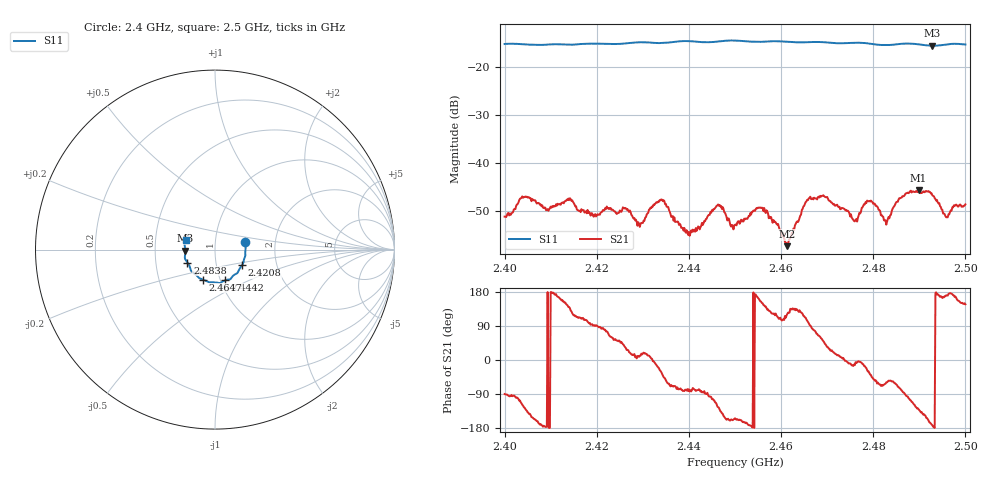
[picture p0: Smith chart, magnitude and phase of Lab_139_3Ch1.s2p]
# Hz S RI R 50
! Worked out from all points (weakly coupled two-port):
!   601 points, 2.4 GHz to 2.5 GHz, reference 50 ohm
!   highest |S21| = -45.74 dB at 2.4898 GHz (marker M1); lowest = -57.3 dB at 2.4613 GHz (marker M2)
!   lowest |S11| = -15.6 dB at 2.4928 GHz (marker M3), VSWR 1.40, Z = 35.8 - j0.377 ohm
!   |S11| at or under -10 dB: start of sweep to end of sweep
!   S12 and S22 are empty: the file has one direction only
!   S11 on the Smith chart (normalised r, x): 2.4 GHz: 1.40, +0.12; 2.4208 GHz: 1.33, -0.24; 2.4442 GHz: 1.05, -0.37; 2.4647 GHz: 0.83, -0.29; 2.4838 GHz: 0.73, -0.11; 2.5 GHz: 0.72, +0.08
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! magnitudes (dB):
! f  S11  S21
! 2.4 GHz  -15.2  -51.2
! 2.4043 GHz  -15.3  -47.1
! 2.4167 GHz  -15.2  -49.6
! 2.4208 GHz  -15.2  -50.4
! 2.4293 GHz  -14.9  -53.3
! 2.4333 GHz  -15.0  -48.0
! 2.4398 GHz  -14.6  -55.0
! 2.4442 GHz  -14.9  -50.9
! 2.4465 GHz  -14.7  -48.9
! 2.45 GHz  -14.5  -52.9
! 2.4555 GHz  -14.8  -49.3
! 2.4613 GHz  -14.8  -57.3
! 2.4647 GHz  -14.9  -49.6
! 2.4667 GHz  -14.8  -47.5
! 2.476 GHz  -15.0  -52.2
! 2.4792 GHz  -15.2  -47.9
! 2.4833 GHz  -15.5  -51.2
! 2.4838 GHz  -15.4  -50.8
! 2.4898 GHz  -15.3  -45.7
! 2.4928 GHz  -15.6  -46.8
! 2.4957 GHz  -15.4  -51.1
! 2.5 GHz  -15.3  -48.6
